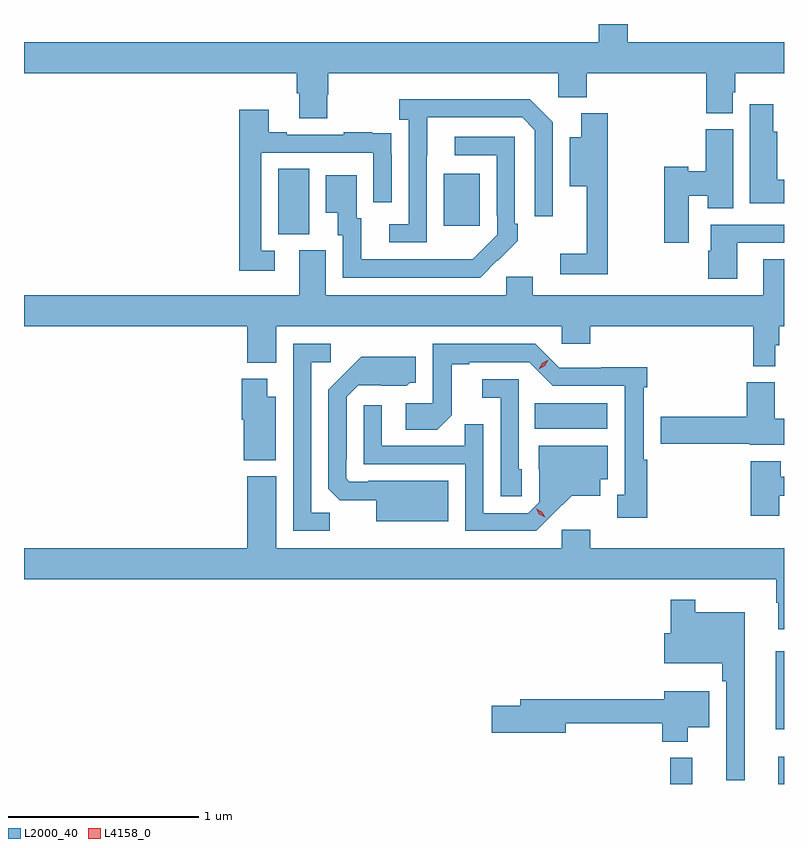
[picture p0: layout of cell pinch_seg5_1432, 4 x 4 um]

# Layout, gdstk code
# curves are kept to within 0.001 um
import gdstk
lib = gdstk.Library(unit=1e-6, precision=1e-09)
def R(c, l, rs):  # rectangles x0, y0, x1, y1
    for r in rs: c.add(gdstk.rectangle(r[:2], r[2:], *l))
def P(c, l, *ps):  # polygons
    for p in ps: c.add(gdstk.Polygon(p, *l))
L2000_40 = (2000, 40)
L4158_0 = (4158, 0)

pinch_seg5_1432 = lib.new_cell('pinch_seg5_1432')
R(pinch_seg5_1432, L2000_40, [(122.761,888.983,122.879,889.12), (123.332,888.983,123.361,889.126), (123.317,889.271,123.361,889.681), (122.05,890.852,122.431,890.986), (120.698,891.877,120.862,892.22), (121.571,891.921,121.759,892.195)])
P(pinch_seg5_1432, L2000_40, [(120.957,892.611),(120.962,892.611),(120.962,892.724),(122.172,892.724),(122.172,892.598),(122.324,892.598),(122.324,892.724),(122.951,892.724),(122.951,892.513),(123.091,892.513),(123.091,892.623),(123.104,892.623),(123.104,892.724),(123.361,892.724),(123.361,892.888),(122.538,892.888),(122.538,892.983),(122.387,892.983),(122.387,892.888),(119.361,892.888),(119.361,892.724),(120.797,892.724),(120.797,892.618),(120.809,892.618),(120.809,892.486),(120.957,892.486)],
  [(121.482,892.291),(121.483,892.491),(121.983,892.491),(122.049,892.425),(122.049,891.972),(122.145,891.972),(122.145,892.467),(122.024,892.588),(121.335,892.588),(121.335,892.478),(121.386,892.478),(121.386,891.93),(121.284,891.93),(121.284,891.834),(121.482,891.834)],
  [(123.361,892.162),(123.325,892.162),(123.325,892.416),(123.304,892.416),(123.304,892.561),(123.182,892.561),(123.182,892.04),(123.361,892.04)],
  [(120.682,891.789),(120.609,891.789),(120.609,892.305),(121.2,892.305),(121.2,892.044),(121.296,892.044),(121.296,892.298),(121.295,892.298),(121.295,892.407),(121.193,892.407),(121.193,892.414),(121.045,892.414),(121.045,892.401),(120.745,892.401),(120.745,892.414),(120.649,892.414),(120.649,892.531),(120.493,892.531),(120.493,891.684),(120.682,891.684)],
  [(122.434,892.513),(122.294,892.513),(122.294,892.387),(122.234,892.387),(122.234,892.13),(122.324,892.13),(122.324,891.775),(122.184,891.775),(122.184,891.666),(122.434,891.666)],
  [(122.86,892.079),(122.96,892.079),(122.96,892.012),(123.094,892.012),(123.094,892.428),(122.948,892.428),(122.948,892.209),(122.856,892.209),(122.856,892.232),(122.731,892.232),(122.731,891.831),(122.86,891.831)],
  [(121.853,891.739),(121.854,891.738),(121.959,891.843),(121.959,891.931),(121.944,891.931),(121.944,892.389),(121.629,892.389),(121.629,892.293),(121.848,892.293),(121.848,891.973),(121.851,891.973),(121.851,891.873),(121.723,891.745),(121.135,891.744),(121.135,891.96),(121.111,891.96),(121.111,892.186),(120.95,892.186),(120.95,891.989),(121.013,891.989),(121.013,891.87),(121.038,891.87),(121.038,891.648),(121.762,891.648)],
  [(123.115,891.831),(123.361,891.831),(123.361,891.927),(122.975,891.927),(122.975,891.789),(122.963,891.789),(122.963,891.642),(123.115,891.642)],
  [(123.315,891.291),(123.335,891.291),(123.335,891.392),(123.361,891.392),(123.361,891.746),(123.251,891.746),(123.251,891.556),(122.038,891.556),(122.038,891.654),(121.899,891.654),(121.899,891.556),(120.949,891.556),(120.949,891.792),(120.809,891.792),(120.809,891.556),(119.361,891.556),(119.361,891.392),(120.536,891.392),(120.536,891.2),(120.688,891.2),(120.688,891.392),(122.19,891.392),(122.19,891.299),(122.342,891.299),(122.342,891.392),(123.199,891.392),(123.199,891.182),(123.315,891.182)],
  [(122.641,890.69),(122.623,890.69),(122.623,891.071),(122.641,891.071),(122.641,891.176),(122.4,891.176),(122.4,891.174),(122.178,891.174),(122.052,891.3),(121.512,891.3),(121.512,890.988),(121.371,890.988),(121.371,890.848),(121.535,890.848),(121.611,890.924),(121.611,891.192),(121.705,891.192),(121.705,891.204),(122.019,891.204),(122.145,891.078),(122.522,891.078),(122.522,890.505),(122.483,890.505),(122.483,890.385),(122.641,890.385)],
  [(120.969,890.411),(120.873,890.411),(120.873,891.204),(120.976,891.204),(120.976,891.3),(120.777,891.3),(120.777,890.316),(120.969,890.316)],
  [(121.594,890.578),(121.174,890.578),(121.174,890.574),(121.074,890.574),(121.056,890.592),(121.056,890.692),(121.059,890.692),(121.059,891.021),(121.119,891.081),(121.376,891.08),(121.392,891.096),(121.423,891.096),(121.423,891.232),(121.135,891.232),(120.963,891.058),(120.963,890.536),(121.022,890.477),(121.214,890.477),(121.214,890.366),(121.594,890.366)],
  [(120.685,891.022),(120.64,891.022),(120.64,891.115),(120.506,891.115),(120.506,890.901),(120.518,890.901),(120.518,890.687),(120.685,890.687)],
  [(121.98,890.64),(121.965,890.64),(121.965,891.114),(121.773,891.114),(121.773,891.017),(121.869,891.017),(121.869,890.497),(121.98,890.497)],
  [(123.361,890.906),(123.313,890.906),(123.313,891.097),(123.164,891.097),(123.164,890.916),(122.712,890.916),(122.712,890.774),(123.18,890.774),(123.18,890.768),(123.361,890.768)],
  [(122.14,890.399),(122.243,890.501),(122.395,890.501),(122.395,890.588),(122.434,890.588),(122.434,890.764),(122.069,890.764),(122.069,890.64),(122.073,890.64),(122.073,890.466),(122.016,890.409),(121.779,890.409),(121.779,890.876),(121.681,890.876),(121.681,890.763),(121.245,890.763),(121.245,890.977),(121.149,890.977),(121.149,890.667),(121.683,890.667),(121.683,890.316),(122.056,890.316)],
  [(123.337,890.499),(123.361,890.499),(123.361,890.599),(123.345,890.599),(123.345,890.683),(123.185,890.683),(123.185,890.394),(123.337,890.394)],
  [(123.361,890.224),(122.342,890.224),(122.342,890.32),(122.19,890.32),(122.19,890.224),(120.688,890.224),(120.688,890.602),(120.536,890.602),(120.536,890.224),(119.361,890.224),(119.361,890.06),(123.321,890.06),(123.321,889.937),(123.332,889.937),(123.332,889.797),(123.361,889.797)],
  [(123.154,889.888),(122.893,889.888),(122.893,889.954),(122.764,889.954),(122.764,889.777),(122.73,889.777),(122.73,889.619),(123.037,889.619),(123.037,889.523),(123.057,889.523),(123.057,889.002),(123.154,889.002)],
  [(122.854,889.283),(122.968,889.283),(122.968,889.471),(122.732,889.471),(122.732,889.43),(121.973,889.43),(121.973,889.394),(121.824,889.394),(121.824,889.252),(122.212,889.252),(122.212,889.302),(122.72,889.302),(122.72,889.205),(122.854,889.205)])
P(pinch_seg5_1432, L4158_0, [(122.071,891.166),(122.071,891.166),(122.089,891.198),(122.121,891.217),(122.121,891.217),(122.121,891.216),(122.103,891.184),(122.071,891.166)],
  [(122.104,890.387),(122.073,890.403),(122.057,890.433),(122.057,890.433),(122.057,890.433),(122.087,890.417),(122.104,890.388),(122.104,890.387)])

lib.write_gds('pinch_seg5_1432.gds')
